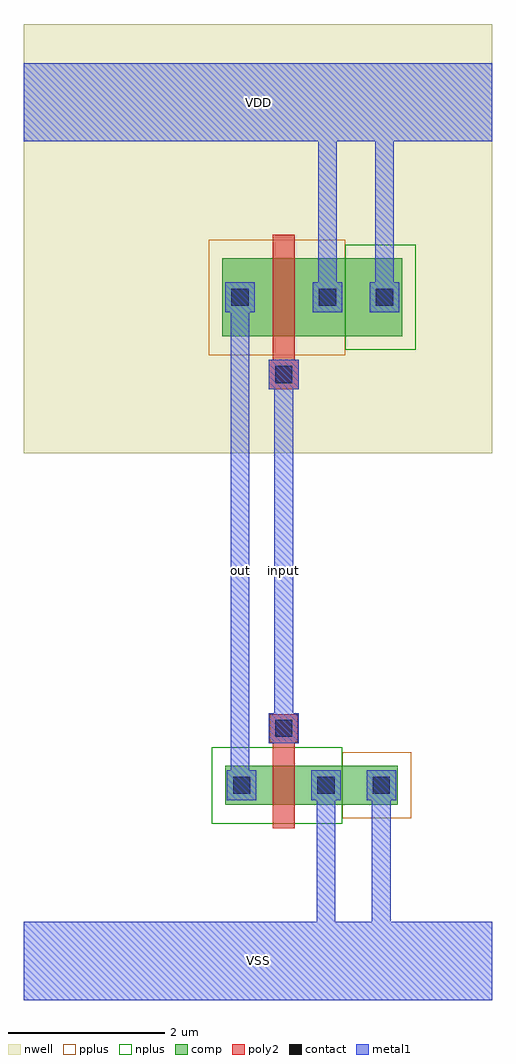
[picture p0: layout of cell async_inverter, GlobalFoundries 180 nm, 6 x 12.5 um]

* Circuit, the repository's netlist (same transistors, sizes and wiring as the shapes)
.subckt async_inverter OUT INPUT VDD VSS
M5 OUT INPUT VDD VDD pfet_03v3 L=0.28u W=1.0u
M6 OUT INPUT VSS VSS nfet_03v3 L=0.28u W=0.50u
.ends async_inverter
.end

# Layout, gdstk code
import gdstk
lib = gdstk.Library(unit=1e-6, precision=1e-09)
def R(c, l, rs):  # rectangles x0, y0, x1, y1
    for r in rs: c.add(gdstk.rectangle(r[:2], r[2:], *l))
nwell = (21, 0)
comp = (22, 0)
poly2 = (30, 0)
pplus = (31, 0)
nplus = (32, 0)
contact = (33, 0)
metal1 = (34, 0)

async_inverter = lib.new_cell('async_inverter')
R(async_inverter, nwell, [(0,4.5,6,10), (1.85,5.31,5.54,7.69)])
R(async_inverter, comp, [(2.58,0,3,0.5), (3,0,3.66,0.5), (3.66,0,4.08,0.5), (4.08,0,4.79,0.5), (2.54,6,3,7), (3,6,3.66,7), (3.66,6,4.12,7), (4.12,6,4.85,7)])
R(async_inverter, poly2, [(3.19,-0.3,3.47,0.8), (3.15,0.8,3.51,1.16), (3.14,5.32,3.52,5.7), (3.19,5.7,3.47,7.3)])
R(async_inverter, pplus, [(4.08,-0.17,4.96,0.67), (2.37,5.76,4.12,7.24)])
R(async_inverter, nplus, [(2.41,-0.24,4.08,0.74), (4.12,5.83,5.02,7.17)])
R(async_inverter, contact, [(2.68,0.14,2.9,0.36), (3.76,0.14,3.98,0.36), (4.47,0.14,4.69,0.36), (3.22,0.87,3.44,1.09), (3.22,5.4,3.44,5.62), (2.66,6.39,2.88,6.61), (3.78,6.39,4,6.61), (4.51,6.39,4.73,6.61)])
R(async_inverter, metal1, [(0,-2.5,6,-1.5), (3.75,-2.5,3.99,0.25), (4.46,-2.5,4.7,0.25), (2.6,0.06,2.98,0.44), (3.68,0.06,4.06,0.44), (4.39,0.06,4.77,0.44), (2.65,0.25,2.89,6.5), (3.14,0.79,3.52,1.17), (3.21,0.98,3.45,5.51), (3.14,5.32,3.52,5.7), (2.58,6.31,2.96,6.69), (3.7,6.31,4.08,6.69), (4.43,6.31,4.81,6.69), (3.77,6.5,4.01,9.5), (4.5,6.5,4.74,9.5), (0,8.5,6,9.5)])
async_inverter.add(gdstk.Label('VDD', (3,9), layer=34, texttype=0))
async_inverter.add(gdstk.Label('VSS', (3,-2), layer=34, texttype=0))
async_inverter.add(gdstk.Label('input', (3.33,3), layer=34, texttype=0))
async_inverter.add(gdstk.Label('out', (2.77,3), layer=34, texttype=0))
async_inverter.add(gdstk.Label('VDD', (3,9), layer=34, texttype=10))
async_inverter.add(gdstk.Label('VSS', (3,-2), layer=34, texttype=10))
async_inverter.add(gdstk.Label('input', (3.33,3), layer=34, texttype=10))
async_inverter.add(gdstk.Label('out', (2.77,3), layer=34, texttype=10))

lib.write_gds('async_inverter.gds')
